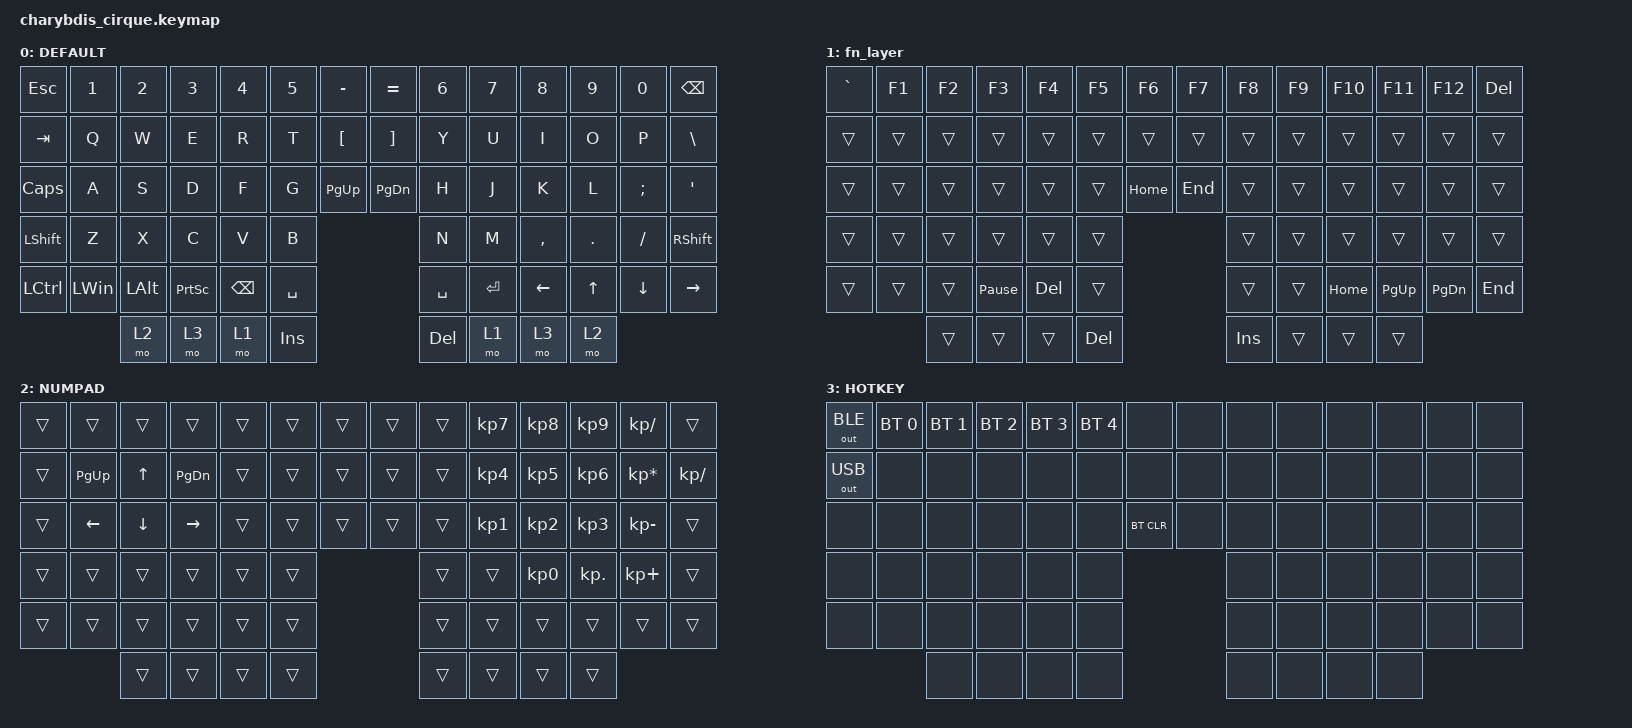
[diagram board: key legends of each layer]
#include <behaviors.dtsi>
#include <dt-bindings/zmk/bt.h>
#include <dt-bindings/zmk/keys.h>
#include <dt-bindings/zmk/outputs.h>

#define DEFAULT 0
#define NUMBER  1
#define SYMBOL  2
#define HOTKEY  3

#define AS(keycode) &as LS(keycode) keycode

/ {
    keymap {
        compatible = "zmk,keymap";

        default_layer {
            label = "DEFAULT";
            bindings = <
&kp ESC     &kp N1    &kp N2        &kp N3           &kp N4    &kp N5     &kp MINUS  &kp EQUAL  &kp N6     &kp N7     &kp N8          &kp N9        &kp N0          &kp BSPC
&kp TAB     &kp Q     &kp W         &kp E            &kp R     &kp T      &kp LBKT   &kp RBKT   &kp Y      &kp U      &kp I           &kp O         &kp P           &kp BSLH
&kp CLCK    &kp A     &kp S         &kp D            &kp F     &kp G      &kp PG_UP  &kp PG_DN  &kp H      &kp J      &kp K           &kp L         &kp SEMI        &kp SQT
&kp LSHIFT  &kp Z     &kp X         &kp C            &kp V     &kp B                            &kp N      &kp M      &kp COMMA       &kp DOT       &kp FSLH        &kp RSHIFT
&kp LCTRL   &kp LWIN  &kp LEFT_ALT  &kp PRINTSCREEN  &kp BSPC  &kp SPACE                        &kp SPACE  &kp ENTER  &kp LEFT_ARROW  &kp UP_ARROW  &kp DOWN_ARROW  &kp RIGHT_ARROW
                      &mo 2         &mo 3            &mo 1     &kp INS                          &kp DEL    &mo 1      &mo 3           &mo 2
            >;
        };

        fn_layer {
            bindings = <
&kp GRAVE  &kp F1  &kp F2  &kp F3           &kp F4      &kp F5      &kp F6    &kp F7   &kp F8   &kp F9  &kp F10   &kp F11      &kp F12        &kp DELETE
&trans     &trans  &trans  &trans           &trans      &trans      &trans    &trans   &trans   &trans  &trans    &trans       &trans         &trans
&trans     &trans  &trans  &trans           &trans      &trans      &kp HOME  &kp END  &trans   &trans  &trans    &trans       &trans         &trans
&trans     &trans  &trans  &trans           &trans      &trans                         &trans   &trans  &trans    &trans       &trans         &trans
&trans     &trans  &trans  &kp PAUSE_BREAK  &kp DELETE  &trans                         &trans   &trans  &kp HOME  &kp PAGE_UP  &kp PAGE_DOWN  &kp END
                   &trans  &trans           &trans      &kp DELETE                     &kp INS  &trans  &trans    &trans
            >;
        };

        NUMPAD {
            bindings = <
&trans  &trans          &trans          &trans           &trans  &trans  &trans  &trans  &trans  &kp KP_NUMBER_7  &kp KP_NUMBER_8  &kp KP_NUMBER_9  &kp KP_DIVIDE    &trans
&trans  &kp PG_UP       &kp UP_ARROW    &kp PAGE_DOWN    &trans  &trans  &trans  &trans  &trans  &kp KP_NUMBER_4  &kp KP_NUMBER_5  &kp KP_NUMBER_6  &kp KP_MULTIPLY  &kp KP_DIVIDE
&trans  &kp LEFT_ARROW  &kp DOWN_ARROW  &kp RIGHT_ARROW  &trans  &trans  &trans  &trans  &trans  &kp KP_NUMBER_1  &kp KP_NUMBER_2  &kp KP_NUMBER_3  &kp KP_MINUS     &trans
&trans  &trans          &trans          &trans           &trans  &trans                  &trans  &trans           &kp KP_NUMBER_0  &kp KP_DOT       &kp KP_PLUS      &trans
&trans  &trans          &trans          &trans           &trans  &trans                  &trans  &trans           &trans           &trans           &trans           &trans
                        &trans          &trans           &trans  &trans                  &trans  &trans           &trans           &trans
            >;
        };

        hotkey_layer {
            label = "HOTKEY";
            bindings = <
&out OUT_BLE  &bt BT_SEL 0  &bt BT_SEL 1  &bt BT_SEL 2  &bt BT_SEL 3  &bt BT_SEL 4  &none       &none  &none  &none  &none  &none  &none  &none
&out OUT_USB  &none         &none         &none         &none         &none         &none       &none  &none  &none  &none  &none  &none  &none
&none         &none         &none         &none         &none         &none         &bt BT_CLR  &none  &none  &none  &none  &none  &none  &none
&none         &none         &none         &none         &none         &none                            &none  &none  &none  &none  &none  &none
&none         &none         &none         &none         &none         &none                            &none  &none  &none  &none  &none  &none
                            &none         &none         &none         &none                            &none  &none  &none  &none
            >;
        };
    };
};
